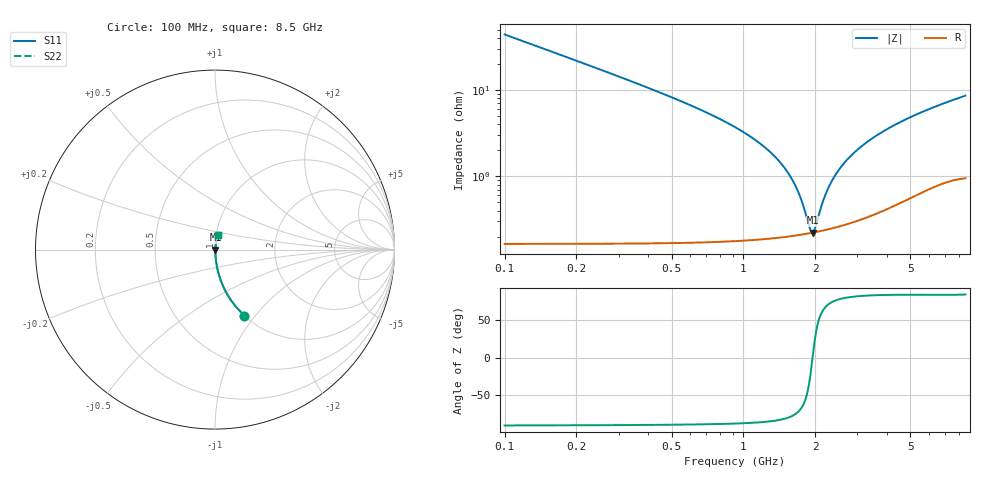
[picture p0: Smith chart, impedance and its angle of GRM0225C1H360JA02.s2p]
!Murata Part Number: GRM0225C1H360JA02
!These Parameters are Measured in Series Mode Connection
!Data Generated on Mar 30, 2021
!  o--ll--o
!Port1  Port2
!  o------o
!Operation Temp=25[degC], DC Bias Voltage=0[V]
!Freq. Start=100[MHz] Stop=9[GHz] 401[Steps]
# Hz S RI R 50
!Freq.(Hz) S11(Real) S11(Imag) S21(Real) S21(Imag) S12(Real) S12(Imag) S22(Real) S22(Imag)
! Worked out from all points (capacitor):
!   401 points, 100 MHz to 8.5 GHz, reference 50 ohm
!   read as one part in series: C = 36 pF near 142 MHz
!   lowest |Z| = 222 mohm at 1.948 GHz (marker M1)
!   series resonance near 1.947 GHz, so ESL is about 190 pH
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1e8  0.1637 -0.3681  0.8363 0.3681  0.8363 0.3681  0.1637 -0.3681
1.84e8  0.055 -0.2246  0.945 0.2246  0.945 0.2246  0.055 -0.2246
2.68e8  0.027 -0.1572  0.973 0.1572  0.973 0.1572  0.027 -0.1572
4.57e8  0.00992 -0.0903  0.9901 0.0903  0.9901 0.0903  0.00992 -0.0903
6.88e8  0.00485 -0.0558  0.9952 0.0558  0.9952 0.0558  0.00485 -0.0558
1.276e9  0.00227 -0.0197  0.9977 0.0197  0.9977 0.0197  0.00227 -0.0197
1.507e9  0.00212 -0.0117  0.9979 0.0117  0.9979 0.0117  0.00212 -0.0117
1.675e9  0.00211 -0.00682  0.9979 0.00682  0.9979 0.00682  0.00211 -0.00682
1.759e9  0.00213 -0.00459  0.9979 0.00459  0.9979 0.00459  0.00213 -0.00459
1.885e9  0.00218 -0.00146  0.9978 0.00146  0.9978 0.00146  0.00218 -0.00146
1.927e9  0.00221 -0.000464  0.9978 0.000464  0.9978 0.000464  0.00221 -0.000464
1.948e9  0.00222 2.45e-05  0.9978 -2.45e-05  0.9978 -2.45e-05  0.00222 2.45e-05
1.99e9  0.00224 0.000986  0.9978 -0.000986  0.9978 -0.000986  0.00224 0.000986
2.179e9  0.00239 0.00508  0.9976 -0.00508  0.9976 -0.00508  0.00239 0.00508
2.347e9  0.00256 0.00846  0.9974 -0.00846  0.9974 -0.00846  0.00256 0.00846
2.599e9  0.00285 0.0132  0.9971 -0.0132  0.9971 -0.0132  0.00285 0.0132
2.914e9  0.0033 0.0186  0.9967 -0.0186  0.9967 -0.0186  0.0033 0.0186
3.502e9  0.00433 0.0277  0.9957 -0.0277  0.9957 -0.0277  0.00433 0.0277
4.3e9  0.00606 0.0387  0.9939 -0.0387  0.9939 -0.0387  0.00606 0.0387
5.707e9  0.00974 0.0557  0.9903 -0.0557  0.9903 -0.0557  0.00974 0.0557
7.114e9  0.0135 0.0703  0.9865 -0.0703  0.9865 -0.0703  0.0135 0.0703
8.5e9  0.0165 0.0834  0.9835 -0.0834  0.9835 -0.0834  0.0165 0.0834
